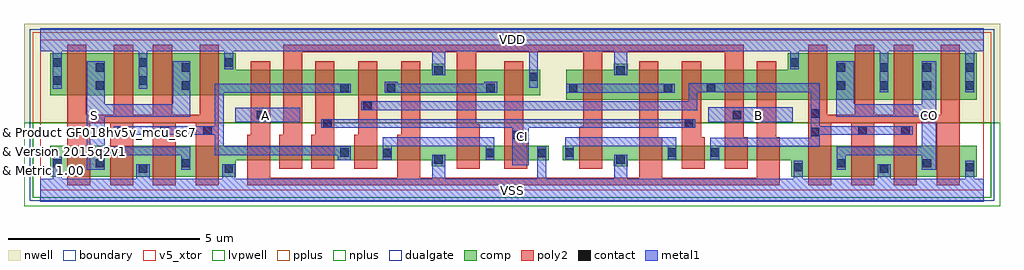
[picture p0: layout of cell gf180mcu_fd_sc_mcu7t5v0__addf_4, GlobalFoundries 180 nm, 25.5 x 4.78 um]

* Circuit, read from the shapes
.subckt gf180mcu_fd_sc_mcu7t5v0__addf_4 A B CI CO S VDD VSS
XM1 S n1 VSS VSUBS nfet_05v0 w=0.815u l=0.6u m=4
XM2 n2 A VSS VSUBS nfet_05v0 w=0.38u l=0.6u
XM3 n3 B n2 VSUBS nfet_05v0 w=0.38u l=0.6u
XM4 n1 CI n3 VSUBS nfet_05v0 w=0.38u l=0.6u
XM5 n4 n5 n1 VSUBS nfet_05v0 w=0.38u l=0.6u
XM6 VSS A n4 VSUBS nfet_05v0 w=0.38u l=0.6u
XM7 n4 B VSS VSUBS nfet_05v0 w=0.38u l=0.6u
XM8 VSS CI n4 VSUBS nfet_05v0 w=0.38u l=0.6u
XM9 VSS B n6 VSUBS nfet_05v0 w=0.38u l=0.6u
XM10 n6 A VSS VSUBS nfet_05v0 w=0.38u l=0.6u
XM11 n5 CI n6 VSUBS nfet_05v0 w=0.38u l=0.6u
XM12 n7 B n5 VSUBS nfet_05v0 w=0.38u l=0.6u
XM13 VSS A n7 VSUBS nfet_05v0 w=0.38u l=0.6u
XM14 CO n5 VSS VSUBS nfet_05v0 w=0.815u l=0.6u m=4
XM15 S n1 VDD n8 pfet_05v0 w=1.095u l=0.5u m=4
XM16 n9 A VDD n8 pfet_05v0 w=0.66u l=0.5u
XM17 n10 B n9 n8 pfet_05v0 w=0.66u l=0.5u
XM18 n1 CI n10 n8 pfet_05v0 w=0.66u l=0.5u
XM19 n11 n5 n1 n8 pfet_05v0 w=0.66u l=0.5u
XM20 VDD A n11 n8 pfet_05v0 w=0.66u l=0.5u
XM21 n11 B VDD n8 pfet_05v0 w=0.66u l=0.5u
XM22 VDD CI n11 n8 pfet_05v0 w=0.66u l=0.5u
XM23 VDD B n12 n8 pfet_05v0 w=0.78u l=0.5u
XM24 n12 A VDD n8 pfet_05v0 w=0.78u l=0.5u
XM25 n5 CI n12 n8 pfet_05v0 w=0.78u l=0.5u
XM26 n13 B n5 n8 pfet_05v0 w=0.78u l=0.5u
XM27 VDD A n13 n8 pfet_05v0 w=0.78u l=0.5u
XM28 CO n5 VDD n8 pfet_05v0 w=1.215u l=0.5u m=4
.ends

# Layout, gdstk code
import gdstk
lib = gdstk.Library(unit=1e-6, precision=1e-09)
def R(c, l, rs):  # rectangles x0, y0, x1, y1
    for r in rs: c.add(gdstk.rectangle(r[:2], r[2:], *l))
def A(c, l, x, y, w, h, nx, ny, dx, dy):  # array of equal rectangles
    R(c, l, [(x+i*dx, y+j*dy, x+i*dx+w, y+j*dy+h) for i in range(nx) for j in range(ny)])
def P(c, l, *ps):  # polygons
    for p in ps: c.add(gdstk.Polygon(p, *l))
boundary = (0, 0)
nwell = (21, 0)
comp = (22, 0)
poly2 = (30, 0)
pplus = (31, 0)
nplus = (32, 0)
contact = (33, 0)
metal1 = (34, 0)
dualgate = (55, 0)
v5_xtor = (112, 1)
lvpwell = (204, 0)

gf180mcu_fd_sc_mcu7t5v0_ = lib.new_cell('gf180mcu_fd_sc_mcu7t5v0__addf_4')
R(gf180mcu_fd_sc_mcu7t5v0_, boundary, [(0,0,24.64,3.92)])
R(gf180mcu_fd_sc_mcu7t5v0_, nwell, [(-0.43,1.76,25.07,4.35)])
P(gf180mcu_fd_sc_mcu7t5v0_, comp, [(0.26,2.48),(0.26,3.575),(5.1,3.575),(5.1,3.14),(10.22,3.14),(10.22,3.3),(10.58,3.3),(10.58,3.14),(13.06,3.14),(13.06,2.48)],
  [(0.26,0.345),(0.26,1.16),(13.28,1.16),(13.28,0.78),(10.58,0.78),(10.58,0.62),(10.22,0.62),(10.22,0.78),(5.1,0.78),(5.1,0.345)],
  [(19.62,0.345),(19.62,0.78),(15.34,0.78),(15.34,0.62),(14.98,0.62),(14.98,0.78),(13.64,0.78),(13.64,1.16),(24.46,1.16),(24.46,0.345)],
  [(13.74,2.36),(13.74,3.14),(14.98,3.14),(14.98,3.3),(15.34,3.3),(15.34,3.14),(19.52,3.14),(19.52,3.575),(24.46,3.575),(24.46,2.36)])
P(gf180mcu_fd_sc_mcu7t5v0_, poly2, [(0.7,0.12),(0.7,3.8),(1.2,3.8),(1.2,1.97),(1.92,1.97),(1.92,3.8),(2.42,3.8),(2.42,1.97),(2.94,1.97),(2.94,3.8),(3.44,3.8),(3.44,1.97),(4.16,1.97),(4.16,3.8),(4.66,3.8),(4.66,0.12),(4.06,0.12),(4.06,1.74),(3.54,1.74),(3.54,0.12),(2.94,0.12),(2.94,1.74),(2.42,1.74),(2.42,0.12),(1.82,0.12),(1.82,1.74),(1.3,1.74),(1.3,0.12)],
  [(7.08,0.56),(7.08,1.44),(7.18,1.44),(7.18,3.36),(7.68,3.36),(7.68,0.56)],
  [(8.2,0.56),(8.2,1.44),(8.3,1.44),(8.3,3.36),(8.8,3.36),(8.8,0.56)],
  [(12.12,0.56),(12.12,3.36),(12.62,3.36),(12.62,1.44),(12.72,1.44),(12.72,0.56)],
  [(16.76,0.56),(16.76,3.36),(17.26,3.36),(17.26,1.385),(17.36,1.385),(17.36,0.56)],
  [(6.24,0.56),(6.24,1.44),(6.34,1.44),(6.34,3.8),(18.38,3.8),(18.38,1.385),(18.48,1.385),(18.48,0.56),(17.88,0.56),(17.88,3.6),(14.68,3.6),(14.68,0.56),(14.08,0.56),(14.08,1.65),(14.18,1.65),(14.18,3.6),(11.38,3.6),(11.38,1.72),(11.48,1.72),(11.48,0.56),(10.88,0.56),(10.88,3.6),(6.84,3.6),(6.84,0.56)],
  [(5.4,0.12),(5.4,1.44),(5.5,1.44),(5.5,3.36),(6,3.36),(6,0.32),(9.32,0.32),(9.32,1.44),(9.42,1.44),(9.42,3.36),(9.92,3.36),(9.92,0.32),(15.64,0.32),(15.64,3.36),(16.14,3.36),(16.14,1.385),(16.24,1.385),(16.24,0.32),(18.72,0.32),(18.72,3.36),(19.22,3.36),(19.22,1.385),(19.32,1.385),(19.32,0.12)],
  [(20.06,0.12),(20.06,3.8),(20.56,3.8),(20.56,1.97),(21.28,1.97),(21.28,3.8),(21.78,3.8),(21.78,1.97),(22.3,1.97),(22.3,3.8),(22.8,3.8),(22.8,1.97),(23.52,1.97),(23.52,3.8),(24.02,3.8),(24.02,0.12),(23.42,0.12),(23.42,1.74),(22.9,1.74),(22.9,0.12),(22.3,0.12),(22.3,1.74),(21.78,1.74),(21.78,0.12),(21.18,0.12),(21.18,1.74),(20.66,1.74),(20.66,0.12)])
R(gf180mcu_fd_sc_mcu7t5v0_, pplus, [(-0.2,1.76,24.84,4.12)])
R(gf180mcu_fd_sc_mcu7t5v0_, nplus, [(-0.2,-0.2,24.84,1.76)])
A(gf180mcu_fd_sc_mcu7t5v0_, contact, 20.81, 2.62, 0.22, 0.22, 4, 2, 1.12, 0.47)
A(gf180mcu_fd_sc_mcu7t5v0_, contact, 0.33, 3.22, 0.22, 0.22, 3, 1, 2.24, 0)
R(gf180mcu_fd_sc_mcu7t5v0_, contact, [(21.93,0.445,22.15,0.665), (2.57,0.45,2.79,0.67), (4.81,0.45,5.03,0.67), (19.69,0.485,19.91,0.705), (24.17,0.485,24.39,0.705), (0.33,0.59,0.55,0.81), (1.45,0.59,1.67,0.81), (3.69,0.59,3.91,0.81), (20.81,0.59,21.03,0.81), (23.05,0.59,23.27,0.81), (10.29,0.69,10.51,0.91), (15.05,0.69,15.27,0.91), (8.95,0.855,9.17,1.075), (11.635,0.855,11.855,1.075), (12.99,0.855,13.21,1.075), (7.83,0.87,8.05,1.09), (13.71,0.87,13.93,1.09), (16.39,0.87,16.61,1.09), (17.51,0.87,17.73,1.09), (12.33,1.33,12.55,1.55), (20.13,1.41,20.35,1.63), (2.025,1.445,2.245,1.665), (3.13,1.445,3.35,1.665), (4.25,1.445,4.47,1.665), (21.37,1.445,21.59,1.665), (22.49,1.445,22.71,1.665), (7.39,1.63,7.61,1.85), (16.83,1.63,17.05,1.85), (5.655,1.85,5.875,2.07), (18.09,1.85,18.31,2.07), (20.13,1.885,20.35,2.105), (8.44,2.09,8.66,2.31), (7.83,2.55,8.05,2.77), (9.05,2.55,9.27,2.77), (11.65,2.55,11.87,2.77), (13.81,2.55,14.03,2.77), (16.29,2.55,16.51,2.77), (17.41,2.56,17.63,2.78), (1.45,2.62,1.67,2.84), (3.69,2.62,3.91,2.84), (0.33,2.75,0.55,2.97), (2.57,2.75,2.79,2.97), (12.77,2.85,12.99,3.07), (10.29,3.01,10.51,3.23), (15.05,3.01,15.27,3.23), (1.45,3.09,1.67,3.31), (3.69,3.09,3.91,3.31), (19.59,3.22,19.81,3.44)])
R(gf180mcu_fd_sc_mcu7t5v0_, metal1, [(5.095,1.77,6.785,2.15), (17.45,1.77,19.65,2.16), (13.74,2.545,16.57,2.775)])
P(gf180mcu_fd_sc_mcu7t5v0_, metal1, [(1.215,0.53),(1.215,3.37),(1.675,3.37),(1.675,2.24),(3.46,2.24),(3.46,3.37),(3.915,3.37),(3.915,1.92),(1.675,1.92),(1.675,1.135),(3.915,1.135),(3.915,0.53),(3.685,0.53),(3.685,0.905),(1.675,0.905),(1.675,0.53)],
  [(7.77,0.78),(7.77,0.905),(4.56,0.905),(4.56,1.44),(1.915,1.44),(1.915,1.67),(4.56,1.67),(4.56,2.775),(8.11,2.775),(8.11,2.545),(4.79,2.545),(4.79,1.14),(8.11,1.14),(8.11,0.78)],
  [(8.945,0.795),(8.945,1.375),(11.86,1.375),(11.86,0.795),(11.63,0.795),(11.63,1.145),(9.175,1.145),(9.175,0.795)],
  [(8.99,2.545),(8.99,2.83),(9.33,2.83),(9.33,2.775),(11.59,2.775),(11.59,2.83),(11.93,2.83),(11.93,2.545)],
  [(13.705,0.81),(13.705,1.375),(16.615,1.375),(16.615,0.81),(16.385,0.81),(16.385,1.145),(13.935,1.145),(13.935,0.81)],
  [(12.325,0.65),(12.325,1.625),(7.33,1.625),(7.33,1.855),(17.11,1.855),(17.11,1.625),(12.755,1.625),(12.755,0.65)],
  [(17.505,0.81),(17.505,1.365),(20.125,1.365),(20.125,2.55),(17.165,2.55),(17.165,2.085),(8.38,2.085),(8.38,2.315),(16.935,2.315),(16.935,2.785),(20.355,2.785),(20.355,1.67),(22.785,1.67),(22.785,1.44),(20.355,1.44),(20.355,1.135),(17.735,1.135),(17.735,0.81)],
  [(20.805,0.53),(20.805,1.135),(23.03,1.135),(23.03,1.92),(20.79,1.92),(20.79,3.37),(21.26,3.37),(21.26,2.24),(23.03,2.24),(23.03,3.37),(23.41,3.37),(23.41,0.53),(23.03,0.53),(23.03,0.905),(21.035,0.905),(21.035,0.53)],
  [(0,-0.3),(0,0.3),(0.325,0.3),(0.325,0.87),(0.555,0.87),(0.555,0.3),(2.505,0.3),(2.505,0.675),(2.85,0.675),(2.85,0.3),(4.75,0.3),(4.75,0.675),(5.09,0.675),(5.09,0.3),(10.23,0.3),(10.23,0.915),(10.57,0.915),(10.57,0.3),(12.985,0.3),(12.985,1.135),(13.215,1.135),(13.215,0.3),(14.99,0.3),(14.99,0.915),(15.33,0.915),(15.33,0.3),(19.685,0.3),(19.685,0.765),(19.915,0.765),(19.915,0.3),(21.87,0.3),(21.87,0.67),(22.21,0.67),(22.21,0.3),(24.165,0.3),(24.165,0.765),(24.395,0.765),(24.395,0.3),(24.64,0.3),(24.64,-0.3)],
  [(21.925,2.56),(21.925,3.62),(19.815,3.62),(19.815,3.16),(19.585,3.16),(19.585,3.62),(15.33,3.62),(15.33,3.005),(14.99,3.005),(14.99,3.62),(12.995,3.62),(12.995,2.67),(12.765,2.67),(12.765,3.62),(10.57,3.62),(10.57,3.005),(10.23,3.005),(10.23,3.62),(5.035,3.62),(5.035,3.16),(4.805,3.16),(4.805,3.62),(2.795,3.62),(2.795,2.65),(2.565,2.65),(2.565,3.62),(0.555,3.62),(0.555,2.65),(0.325,2.65),(0.325,3.62),(0,3.62),(0,4.22),(24.64,4.22),(24.64,3.62),(24.395,3.62),(24.395,2.56),(24.165,2.56),(24.165,3.62),(22.155,3.62),(22.155,2.56)])
R(gf180mcu_fd_sc_mcu7t5v0_, dualgate, [(-0.28,-0.28,24.92,4.2)])
R(gf180mcu_fd_sc_mcu7t5v0_, v5_xtor, [(0,0,24.64,3.92)])
R(gf180mcu_fd_sc_mcu7t5v0_, lvpwell, [(-0.43,-0.43,25.07,1.76)])
gf180mcu_fd_sc_mcu7t5v0_.add(gdstk.Label('B', (18.76,1.96), layer=34, texttype=10))
gf180mcu_fd_sc_mcu7t5v0_.add(gdstk.Label('CI', (12.6,1.4), layer=34, texttype=10))
gf180mcu_fd_sc_mcu7t5v0_.add(gdstk.Label('CO', (23.24,1.96), layer=34, texttype=10))
gf180mcu_fd_sc_mcu7t5v0_.add(gdstk.Label('S', (1.4,1.96), layer=34, texttype=10))
gf180mcu_fd_sc_mcu7t5v0_.add(gdstk.Label('VDD', (12.32,3.92), layer=34, texttype=10))
gf180mcu_fd_sc_mcu7t5v0_.add(gdstk.Label('VSS', (12.32,0), layer=34, texttype=10))
gf180mcu_fd_sc_mcu7t5v0_.add(gdstk.Label('A', (5.88,1.96), layer=34, texttype=10))
gf180mcu_fd_sc_mcu7t5v0_.add(gdstk.Label('& Vendor GLOBALFOUNDRIES', (0,2), layer=63, texttype=63))
gf180mcu_fd_sc_mcu7t5v0_.add(gdstk.Label('& Product GF018hv5v_mcu_sc7', (0,1.5), layer=63, texttype=63))
gf180mcu_fd_sc_mcu7t5v0_.add(gdstk.Label('& Version 2015q2v1', (0,1), layer=63, texttype=63))
gf180mcu_fd_sc_mcu7t5v0_.add(gdstk.Label('& Metric 1.00', (0,0.5), layer=63, texttype=63))

lib.write_gds('gf180mcu_fd_sc_mcu7t5v0__addf_4.gds')
